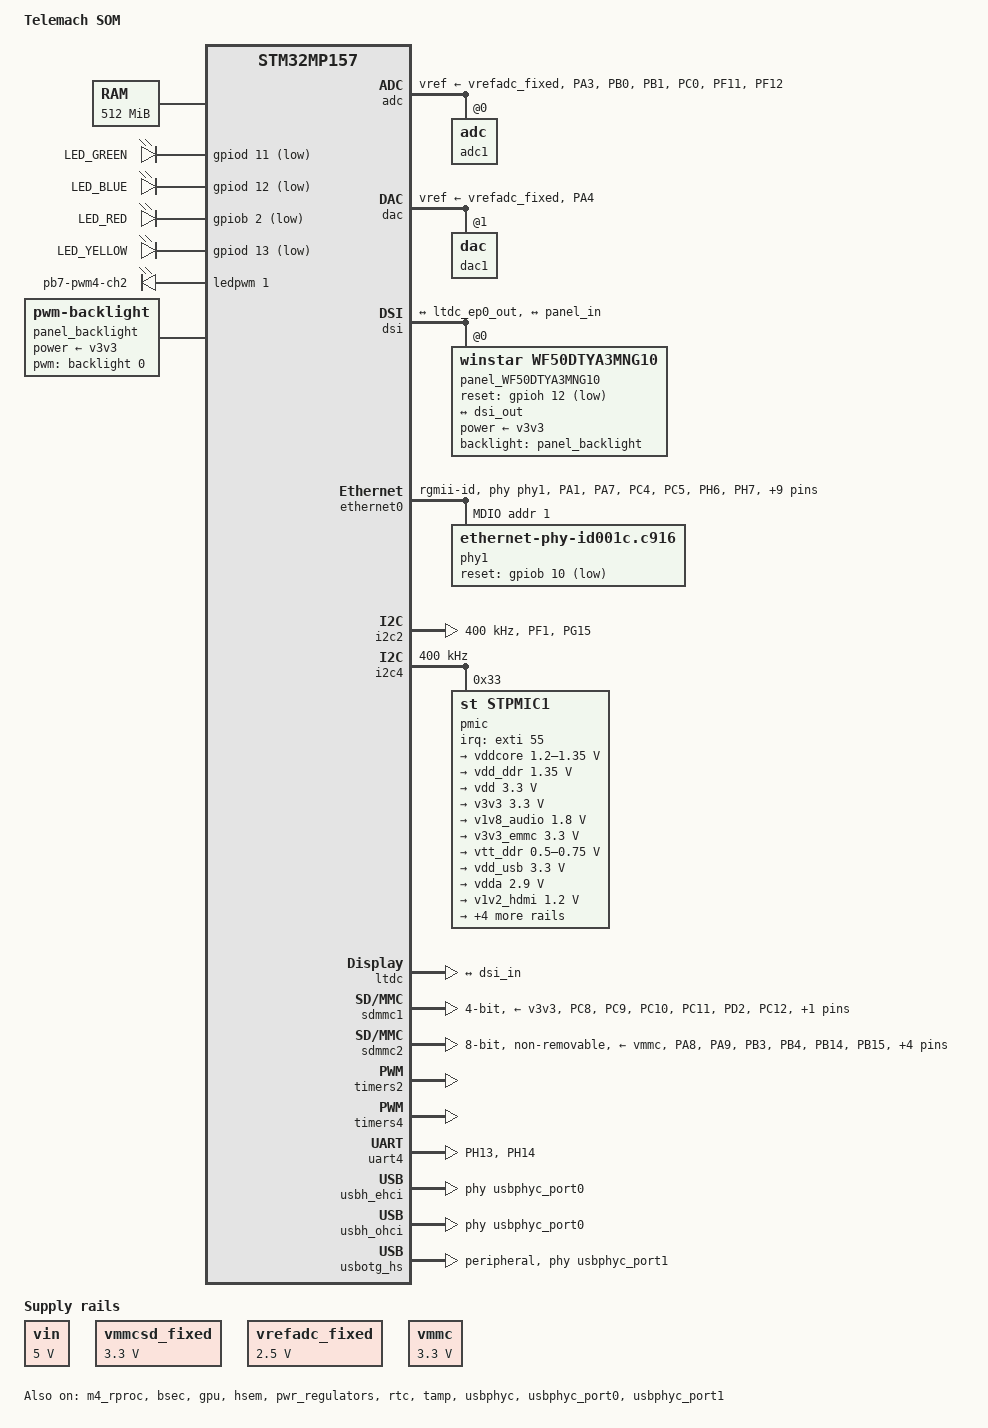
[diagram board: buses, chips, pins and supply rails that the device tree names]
// SPDX-License-Identifier: (GPL-2.0-or-later OR BSD-3-Clause)
/*
 * Copyright (C) 2025, STMicroelectronics - All Rights Reserved
 * Author: STM32CubeMX code generation for STMicroelectronics.
 */

/* For more information on Device Tree configuration, please refer to
 * https://wiki.st.com/stm32mpu/wiki/Category:Device_tree_configuration
 */

/dts-v1/;

#include <dt-bindings/pinctrl/stm32-pinfunc.h>
#include "stm32mp157.dtsi"
#include "stm32mp15xc.dtsi"
#include "stm32mp15xxaa-pinctrl.dtsi"
#include "stm32mp15-m4-srm.dtsi"

/* USER CODE BEGIN includes */
#include "stm32mp15-scmi.dtsi"
#include <dt-bindings/gpio/gpio.h>
#include <dt-bindings/mfd/st,stpmic1.h>
#include <dt-bindings/rtc/rtc-stm32.h>
/* USER CODE END includes */

//#include "stm32mp151.dtsi"
//#include "stm32mp15xa.dtsi"
//#include "stm32mp15xxac-pinctrl.dtsi"

/ {
	model = "Telemach SOM";
	compatible = "st,stm32mp157c-telemach-mx", "st,stm32mp157";

	memory@c0000000 {
		device_type = "memory";
		reg = <0xc0000000 0x20000000>;

		/* USER CODE BEGIN memory */
		/* USER CODE END memory */
	};

	reserved-memory {
		#address-cells = <1>;
		#size-cells = <1>;
		ranges;

		/* USER CODE BEGIN reserved-memory */
		optee@de000000 {
			reg = <0xde000000 0x2000000>;
			no-map;
		};
		
		mcuram2:mcuram2@10000000{
			compatible = "shared-dma-pool";
			reg = <0x10000000 0x40000>;
			no-map;
		};

		vdev0vring0:vdev0vring0@10040000{
			compatible = "shared-dma-pool";
			reg = <0x10040000 0x1000>;
			no-map;
		};

		vdev0vring1:vdev0vring1@10041000{
			compatible = "shared-dma-pool";
			reg = <0x10041000 0x1000>;
			no-map;
		};

		vdev0buffer:vdev0buffer@10042000{
			compatible = "shared-dma-pool";
			reg = <0x10042000 0x4000>;
			no-map;
		};

		mcu_rsc_table:mcu-rsc-table@10048000{
			compatible = "shared-dma-pool";
			reg = <0x10048000 0x8000>;
			no-map;
		};

		mcuram:mcuram@30000000{
			compatible = "shared-dma-pool";
			reg = <0x30000000 0x40000>;
			no-map;
		};

		retram:retram@38000000{
			compatible = "shared-dma-pool";
			reg = <0x38000000 0x10000>;
			no-map;
		};
		/* USER CODE END reserved-memory */
	};

	/* USER CODE BEGIN root */
	led{
		compatible = "gpio-leds";

		led1_grn{
			label = "LED_GREEN";
			gpios = <&gpiod 11 GPIO_ACTIVE_LOW>;
			linux,default-trigger = "heartbeat";
			status = "okay";
			default-state = "off";
		};

		led2_blue{
			label = "LED_BLUE";
			gpios = <&gpiod 12 GPIO_ACTIVE_LOW>;
			linux,default-trigger = "cpu0";
			status = "okay";
			default-state = "off";
		};

		led3_red{
			label = "LED_RED";
			gpios = <&gpiob 2 GPIO_ACTIVE_LOW>;
			status = "okay";
			default-state = "off";
		};

		led4_grn{
			label = "LED_YELLOW";
			gpios = <&gpiod 13 GPIO_ACTIVE_LOW>;
			default-state = "off";
		};
	};

	pwmleds {
		compatible = "pwm-leds";
		control {
			label = "pb7-pwm4-ch2";
			pwms = <&ledpwm 1 500000 0>;
			max-brightness = <4096>;
		};
	};

	panel_backlight: panel_backlight {
		compatible = "pwm-backlight";
		pwms = <&backlight 0 500000 0>;
		brightness-levels = <0 4 8 16 32 64 128 255>;
		default-brightness-level = <2>;
		power-supply = <&v3v3>;
		status = "okay";
	};

	usb_phy_tuning:usb-phy-tuning{
		st,hs-dc-level = <2>;
		st,fs-rftime-tuning;
		st,hs-rftime-reduction;
		st,hs-current-trim = <15>;
		st,hs-impedance-trim = <1>;
		st,squelch-level = <3>;
		st,hs-rx-offset = <2>;
		st,no-lsfs-sc;
	};

	vin:vin{
		compatible = "regulator-fixed";
		regulator-name = "vin";
		regulator-min-microvolt = <5000000>;
		regulator-max-microvolt = <5000000>;
		regulator-always-on;
	};

	vmmcsd_fixed: fixedregulator@0 {
		compatible = "regulator-fixed";
		regulator-name = "vmmcsd_fixed";
		regulator-min-microvolt = <3300000>;
		regulator-max-microvolt = <3300000>;
		regulator-always-on;
	};

	vrefadc_fixed: fixedregulator@0 {
		compatible = "regulator-fixed";
		regulator-name = "vrefadc_fixed";
		regulator-min-microvolt = <2500000>;
		regulator-max-microvolt = <2500000>;
		regulator-always-on;
	};

	vmmc: fixedregulator@1 {
		compatible = "regulator-fixed";
		regulator-name = "vmmc";
		regulator-min-microvolt = <3300000>;
		regulator-max-microvolt = <3300000>;
		startup-delay-us = <70000>;
		enable-active-high;
		regulator-always-on;
		};

	aliases{
		serial0 = &uart4;
		mmc0 = &sdmmc1;
		mmc1 = &sdmmc2;
	};

	chosen{
		#address-cells = <1>;
		#size-cells = <1>;
		ranges;
		stdout-path = "serial0:115200n8";
		framebuffer {
			compatible = "simple-framebuffer";
			clocks = <&rcc LTDC_PX>;
			status = "disabled";
		};
	};
	/* USER CODE END root */

	clocks{

		/* USER CODE BEGIN clocks */
		clk_csi: clk-csi {
			#clock-cells = <0>;
			compatible = "fixed-clock";
			clock-frequency = <4000000>;
		};

		clk_hse: clk-hse {
			#clock-cells = <0>;
			compatible = "fixed-clock";
			clock-frequency = <24000000>;
		};

		clk_hsi: clk-hsi {
			#clock-cells = <0>;
			compatible = "fixed-clock";
			clock-frequency = <64000000>;
		};

		clk_lse: clk-lse {
			#clock-cells = <0>;
			compatible = "fixed-clock";
			clock-frequency = <32768>;
		};

		clk_lsi: clk-lsi {
			#clock-cells = <0>;
			compatible = "fixed-clock";
			clock-frequency = <32000>;
		};	
		/* USER CODE END clocks */
	};

}; /*root*/

&pinctrl {

	adc_pins_mx: adc_mx-0 {
		pins {
			pinmux = <STM32_PINMUX('A', 3, ANALOG)>, /* ADC1_INP15 */
					 <STM32_PINMUX('B', 0, ANALOG)>, /* ADC1_INP9 */
					 <STM32_PINMUX('B', 1, ANALOG)>, /* ADC1_INP5 */
					 <STM32_PINMUX('C', 0, ANALOG)>, /* ADC1_INP10 */
					 <STM32_PINMUX('F', 11, ANALOG)>, /* ADC1_INP2 */
					 <STM32_PINMUX('F', 12, ANALOG)>; /* ADC1_INP6 */
		};
	};

	adc_sleep_pins_mx: adc_sleep_mx-0 {
		pins {
			pinmux = <STM32_PINMUX('A', 3, ANALOG)>, /* ADC1_INP15 */
					 <STM32_PINMUX('B', 0, ANALOG)>, /* ADC1_INP9 */
					 <STM32_PINMUX('B', 1, ANALOG)>, /* ADC1_INP5 */
					 <STM32_PINMUX('C', 0, ANALOG)>, /* ADC1_INP10 */
					 <STM32_PINMUX('F', 11, ANALOG)>, /* ADC1_INP2 */
					 <STM32_PINMUX('F', 12, ANALOG)>; /* ADC1_INP6 */
		};
	};

	dac1_pins_mx: dac1_mx-0 {
		pins {
			pinmux = <STM32_PINMUX('A', 4, ANALOG)>; /* DAC1_OUT1 */
		};
	};

	dac1_sleep_pins_mx: dac1_sleep_mx-0 {
		pins {
			pinmux = <STM32_PINMUX('A', 4, ANALOG)>; /* DAC1_OUT1 */
		};
	};

	eth1_pins_mx: eth1_mx-0 {
		pins1 {
			pinmux = <STM32_PINMUX('A', 1, AF11)>, /* ETH1_RX_CLK */
					 <STM32_PINMUX('A', 7, AF11)>, /* ETH1_RX_CTL */
					 <STM32_PINMUX('C', 4, AF11)>, /* ETH1_RXD0 */
					 <STM32_PINMUX('C', 5, AF11)>, /* ETH1_RXD1 */
					 <STM32_PINMUX('H', 6, AF11)>, /* ETH1_RXD2 */
					 <STM32_PINMUX('H', 7, AF11)>; /* ETH1_RXD3 */
			bias-disable;
		};
		pins2 {
			pinmux = <STM32_PINMUX('A', 2, AF11)>; /* ETH1_MDIO */
			bias-disable;
			drive-push-pull;
			slew-rate = <0>;
		};
		pins3 {
			pinmux = <STM32_PINMUX('B', 12, AF11)>, /* ETH1_TXD0 */
					 <STM32_PINMUX('B', 13, AF11)>, /* ETH1_TXD1 */
					 <STM32_PINMUX('C', 1, AF11)>, /* ETH1_MDC */
					 <STM32_PINMUX('C', 2, AF11)>, /* ETH1_TXD2 */
					 <STM32_PINMUX('E', 2, AF11)>, /* ETH1_TXD3 */
					 <STM32_PINMUX('G', 4, AF11)>, /* ETH1_GTX_CLK */
					 <STM32_PINMUX('G', 5, AF11)>, /* ETH1_CLK125 */
					 <STM32_PINMUX('G', 11, AF11)>; /* ETH1_TX_CTL */
			bias-disable;
			drive-push-pull;
			slew-rate = <2>;
		};
	};

	eth1_sleep_pins_mx: eth1_sleep_mx-0 {
		pins {
			pinmux = <STM32_PINMUX('A', 1, ANALOG)>, /* ETH1_RX_CLK */
					 <STM32_PINMUX('A', 2, ANALOG)>, /* ETH1_MDIO */
					 <STM32_PINMUX('A', 7, ANALOG)>, /* ETH1_RX_CTL */
					 <STM32_PINMUX('B', 12, ANALOG)>, /* ETH1_TXD0 */
					 <STM32_PINMUX('B', 13, ANALOG)>, /* ETH1_TXD1 */
					 <STM32_PINMUX('C', 1, ANALOG)>, /* ETH1_MDC */
					 <STM32_PINMUX('C', 2, ANALOG)>, /* ETH1_TXD2 */
					 <STM32_PINMUX('C', 4, ANALOG)>, /* ETH1_RXD0 */
					 <STM32_PINMUX('C', 5, ANALOG)>, /* ETH1_RXD1 */
					 <STM32_PINMUX('E', 2, ANALOG)>, /* ETH1_TXD3 */
					 <STM32_PINMUX('G', 4, ANALOG)>, /* ETH1_GTX_CLK */
					 <STM32_PINMUX('G', 5, ANALOG)>, /* ETH1_CLK125 */
					 <STM32_PINMUX('G', 11, ANALOG)>, /* ETH1_TX_CTL */
					 <STM32_PINMUX('H', 6, ANALOG)>, /* ETH1_RXD2 */
					 <STM32_PINMUX('H', 7, ANALOG)>; /* ETH1_RXD3 */
		};
	};

	i2c2_pins_mx: i2c2_mx-0 {
		pins {
			pinmux = <STM32_PINMUX('F', 1, AF4)>, /* I2C2_SCL */
					 <STM32_PINMUX('G', 15, AF4)>; /* I2C2_SDA */
			bias-disable;
			drive-open-drain;
			slew-rate = <0>;
		};
	};

	i2c2_sleep_pins_mx: i2c2_sleep_mx-0 {
		pins {
			pinmux = <STM32_PINMUX('F', 1, ANALOG)>, /* I2C2_SCL */
					 <STM32_PINMUX('G', 15, ANALOG)>; /* I2C2_SDA */
		};
	};

	sdmmc1_pins_mx: sdmmc1_mx-0 {
		pins1 {
			pinmux = <STM32_PINMUX('C', 8, AF12)>, /* SDMMC1_D0 */
					 <STM32_PINMUX('C', 9, AF12)>, /* SDMMC1_D1 */
					 <STM32_PINMUX('C', 10, AF12)>, /* SDMMC1_D2 */
					 <STM32_PINMUX('C', 11, AF12)>, /* SDMMC1_D3 */
					 <STM32_PINMUX('D', 2, AF12)>; /* SDMMC1_CMD */
			bias-disable;
			drive-push-pull;
			slew-rate = <1>;
		};
		pins2 {
			pinmux = <STM32_PINMUX('C', 12, AF12)>; /* SDMMC1_CK */
			bias-disable;
			drive-push-pull;
			slew-rate = <3>;
		};
	};

	sdmmc1_opendrain_pins_mx: sdmmc1_opendrain_mx-0 {
		pins1 {
			pinmux = <STM32_PINMUX('C', 8, AF12)>, /* SDMMC1_D0 */
					 <STM32_PINMUX('C', 9, AF12)>, /* SDMMC1_D1 */
					 <STM32_PINMUX('C', 10, AF12)>, /* SDMMC1_D2 */
					 <STM32_PINMUX('C', 11, AF12)>; /* SDMMC1_D3 */
			bias-disable;
			drive-push-pull;
			slew-rate = <1>;
		};
		pins2 {
			pinmux = <STM32_PINMUX('C', 12, AF12)>; /* SDMMC1_CK */
			bias-disable;
			drive-push-pull;
			slew-rate = <3>;
		};
		pins3 {
			pinmux = <STM32_PINMUX('D', 2, AF12)>; /* SDMMC1_CMD */
			bias-disable;
			drive-open-drain;
			slew-rate = <1>;
		};
	};

	sdmmc1_sleep_pins_mx: sdmmc1_sleep_mx-0 {
		pins {
			pinmux = <STM32_PINMUX('C', 8, ANALOG)>, /* SDMMC1_D0 */
					 <STM32_PINMUX('C', 9, ANALOG)>, /* SDMMC1_D1 */
					 <STM32_PINMUX('C', 10, ANALOG)>, /* SDMMC1_D2 */
					 <STM32_PINMUX('C', 11, ANALOG)>, /* SDMMC1_D3 */
					 <STM32_PINMUX('C', 12, ANALOG)>, /* SDMMC1_CK */
					 <STM32_PINMUX('D', 2, ANALOG)>; /* SDMMC1_CMD */
		};
	};

	sdmmc2_pins_mx: sdmmc2_mx-0 {
		pins1 {
			pinmux = <STM32_PINMUX('A', 8, AF9)>, /* SDMMC2_D4 */
					 <STM32_PINMUX('A', 9, AF10)>, /* SDMMC2_D5 */
					 <STM32_PINMUX('B', 3, AF9)>, /* SDMMC2_D2 */
					 <STM32_PINMUX('B', 4, AF9)>, /* SDMMC2_D3 */
					 <STM32_PINMUX('B', 14, AF9)>, /* SDMMC2_D0 */
					 <STM32_PINMUX('B', 15, AF9)>, /* SDMMC2_D1 */
					 <STM32_PINMUX('C', 6, AF10)>, /* SDMMC2_D6 */
					 <STM32_PINMUX('C', 7, AF10)>, /* SDMMC2_D7 */
					 <STM32_PINMUX('G', 6, AF10)>; /* SDMMC2_CMD */
			bias-disable;
			drive-push-pull;
			slew-rate = <1>;
		};
		pins2 {
			pinmux = <STM32_PINMUX('E', 3, AF9)>; /* SDMMC2_CK */
			bias-disable;
			drive-push-pull;
			slew-rate = <3>;
		};
	};

	sdmmc2_opendrain_pins_mx: sdmmc2_opendrain_mx-0 {
		pins1 {
			pinmux = <STM32_PINMUX('A', 8, AF9)>, /* SDMMC2_D4 */
					 <STM32_PINMUX('A', 9, AF10)>, /* SDMMC2_D5 */
					 <STM32_PINMUX('B', 3, AF9)>, /* SDMMC2_D2 */
					 <STM32_PINMUX('B', 4, AF9)>, /* SDMMC2_D3 */
					 <STM32_PINMUX('B', 14, AF9)>, /* SDMMC2_D0 */
					 <STM32_PINMUX('B', 15, AF9)>, /* SDMMC2_D1 */
					 <STM32_PINMUX('C', 6, AF10)>, /* SDMMC2_D6 */
					 <STM32_PINMUX('C', 7, AF10)>; /* SDMMC2_D7 */
			bias-disable;
			drive-push-pull;
			slew-rate = <1>;
		};
		pins2 {
			pinmux = <STM32_PINMUX('E', 3, AF9)>; /* SDMMC2_CK */
			bias-disable;
			drive-push-pull;
			slew-rate = <3>;
		};
		pins3 {
			pinmux = <STM32_PINMUX('G', 6, AF10)>; /* SDMMC2_CMD */
			bias-disable;
			drive-open-drain;
			slew-rate = <1>;
		};
	};

	sdmmc2_sleep_pins_mx: sdmmc2_sleep_mx-0 {
		pins {
			pinmux = <STM32_PINMUX('A', 8, ANALOG)>, /* SDMMC2_D4 */
					 <STM32_PINMUX('A', 9, ANALOG)>, /* SDMMC2_D5 */
					 <STM32_PINMUX('B', 3, ANALOG)>, /* SDMMC2_D2 */
					 <STM32_PINMUX('B', 4, ANALOG)>, /* SDMMC2_D3 */
					 <STM32_PINMUX('B', 14, ANALOG)>, /* SDMMC2_D0 */
					 <STM32_PINMUX('B', 15, ANALOG)>, /* SDMMC2_D1 */
					 <STM32_PINMUX('C', 6, ANALOG)>, /* SDMMC2_D6 */
					 <STM32_PINMUX('C', 7, ANALOG)>, /* SDMMC2_D7 */
					 <STM32_PINMUX('E', 3, ANALOG)>, /* SDMMC2_CK */
					 <STM32_PINMUX('G', 6, ANALOG)>; /* SDMMC2_CMD */
		};
	};

	tim2_pwm_pins_mx: tim2_pwm_mx-0 {
		pins {
			pinmux = <STM32_PINMUX('A', 15, AF1)>; /* TIM2_CH1 */
			bias-disable;
			drive-push-pull;
			slew-rate = <0>;
		};
	};

	tim2_pwm_sleep_pins_mx: tim2_pwm_sleep_mx-0 {
		pins {
			pinmux = <STM32_PINMUX('A', 15, ANALOG)>; /* TIM2_CH1 */
		};
	};

	tim4_pwm_pins_mx: tim4_pwm_mx-0 {
		pins {
			pinmux = <STM32_PINMUX('B', 7, AF2)>; /* TIM4_CH2 */
			bias-disable;
			drive-push-pull;
			slew-rate = <0>;
		};
	};

	tim4_pwm_sleep_pins_mx: tim4_pwm_sleep_mx-0 {
		pins {
			pinmux = <STM32_PINMUX('B', 7, ANALOG)>; /* TIM4_CH2 */
		};
	};

	uart4_pins_mx: uart4_mx-0 {
		pins1 {
			pinmux = <STM32_PINMUX('H', 13, AF8)>; /* UART4_TX */
			bias-disable;
			drive-push-pull;
			slew-rate = <0>;
		};
		pins2 {
			pinmux = <STM32_PINMUX('H', 14, AF8)>; /* UART4_RX */
			bias-pull-up;
		};
	};

	uart4_idle_pins_mx: uart4_idle_mx-0 {
		pins1 {
			pinmux = <STM32_PINMUX('H', 13, ANALOG)>; /* UART4_TX */
		};
		pins2 {
			pinmux = <STM32_PINMUX('H', 14, AF8)>; /* UART4_RX */
			bias-pull-up;
		};
	};

	uart4_sleep_pins_mx: uart4_sleep_mx-0 {
		pins {
			pinmux = <STM32_PINMUX('H', 13, ANALOG)>, /* UART4_TX */
					 <STM32_PINMUX('H', 14, ANALOG)>; /* UART4_RX */
		};
	};

	/* USER CODE BEGIN pinctrl */
	/* USER CODE END pinctrl */
};

&pinctrl_z {

	i2c4_pins_z_mx: i2c4_mx-0 {
		pins {
			pinmux = <STM32_PINMUX('Z', 4, AF6)>, /* I2C4_SCL */
					 <STM32_PINMUX('Z', 5, AF6)>; /* I2C4_SDA */
			bias-pull-up;
			drive-open-drain;
			slew-rate = <3>;
		};
	};

	i2c4_sleep_pins_z_mx: i2c4_sleep_mx-0 {
		pins {
			pinmux = <STM32_PINMUX('Z', 4, ANALOG)>, /* I2C4_SCL */
					 <STM32_PINMUX('Z', 5, ANALOG)>; /* I2C4_SDA */
		};
	};

	/* USER CODE BEGIN pinctrl_z */
	/* USER CODE END pinctrl_z */
};

&m4_rproc{
	/*Restriction: "memory-region" property is not managed - please to use User-Section if needed*/
	mboxes = <&ipcc 2>;
	mbox-names = "shutdown";
	status = "okay";

	/* USER CODE BEGIN m4_rproc */
	resets = <&scmi_reset RST_SCMI_MCU>, <&scmi_reset RST_SCMI_MCU_HOLD_BOOT>;
	reset-names = "mcu_rst", "hold_boot";
	/*/delete-property/ st,syscfg-holdboot;*/
	mboxes = <&ipcc 0>, <&ipcc 1>, <&ipcc 2>, <&ipcc 3>;
	mbox-names = "vq0", "vq1", "shutdown", "detach";
	memory-region = <&retram>, <&mcuram>, <&mcuram2>, <&vdev0vring0>, <&vdev0vring1>, <&vdev0buffer>, <&mcu_rsc_table>;
	interrupt-parent = <&exti>;
	interrupts = <68 1>;
	wakeup-source;
	/* USER CODE END m4_rproc */

	m4_system_resources{
		status = "okay";

		/* USER CODE BEGIN m4_system_resources */
		/* USER CODE END m4_system_resources */
	};
};

&adc {
	pinctrl-names = "default", "sleep";
	pinctrl-0 = <&adc_pins_mx>;
	pinctrl-1 = <&adc_sleep_pins_mx>;
	status = "okay";

	/* USER CODE BEGIN adc */
	vdd-supply = <&vdd>;
	vdda-supply = <&vdda>;
	vref-supply = <&vrefadc_fixed>; /* Connected to external source 2.5V */

	adc1: adc@0 {
		#address-cells = <1>;
		#size-cells = <0>;
		assigned-resolution-bits = <12>;
		status = "okay";
		channel@0 {
			reg = <0>;
			/* 16.5 ck_cycles sampling time */
			st,min-sample-time-ns = <5000>;
			assigned-resolution-bits = <12>;
		};
		channel@1 {
			reg = <1>;
			st,min-sample-time-ns = <5000>;
			assigned-resolution-bits = <12>;
		};
		channel@2 {
			reg = <2>;
			/* 16.5 ck_cycles sampling time */
			st,min-sample-time-ns = <5000>;
			assigned-resolution-bits = <12>;
		};
		channel@5 {
			reg = <5>;
			st,min-sample-time-ns = <5000>;
			assigned-resolution-bits = <12>;
		};
		channel@2 {
			reg = <2>;
			st,min-sample-time-ns = <5000>;
			assigned-resolution-bits = <12>;
		};
		channel@9 {
			reg = <9>;
			st,min-sample-time-ns = <5000>;
			assigned-resolution-bits = <12>;
		};
		channel@10 {
			reg = <10>;
			st,min-sample-time-ns = <5000>;
			assigned-resolution-bits = <12>;
		};
		channel@15 {
			reg = <15>;
			st,min-sample-time-ns = <5000>;
			assigned-resolution-bits = <12>;
		};
	};
	/* USER CODE END adc */
};

&bsec {
	status = "okay";

	/* USER CODE BEGIN bsec */
	/* USER CODE END bsec */
};

&dac {
	pinctrl-names = "default", "sleep";
	pinctrl-0 = <&dac1_pins_mx>;
	pinctrl-1 = <&dac1_sleep_pins_mx>;
	status = "okay";

	/* USER CODE BEGIN dac */
	vref-supply = <&vrefadc_fixed>; /* Connected to external source 2.5V */
	dac1: dac@1 {
		status = "okay";	/* Enable DAC1 */
	};
	/* USER CODE END dac */
};

&dma1 {
	status = "okay";

	/* USER CODE BEGIN dma1 */
	resets = <&scmi_reset RST_SCMI_MDMA>;
	/* USER CODE END dma1 */
};

&dma2 {
	status = "disabled";

	/* USER CODE BEGIN dma2 */
	/* USER CODE END dma2 */
};

&dmamux1 {
	status = "okay";

	dma-masters = <&dma1>;
	dma-channels = <8>;

	/* USER CODE BEGIN dmamux1 */
	/* USER CODE END dmamux1 */
};

&dsi {
	status = "okay";

	/* USER CODE BEGIN dsi */
	clocks = <&rcc DSI>, <&scmi_clk CK_SCMI_HSE>, <&rcc DSI_PX>;
	#address-cells = <1>;
	#size-cells = <0>;

	ports {
		#address-cells = <1>;
		#size-cells = <0>;

		port@0 {
			reg = <0>;
			dsi_in: endpoint {
				remote-endpoint = <&ltdc_ep0_out>;
			};
		};

		port@1 {
			reg = <1>;
			dsi_out: endpoint {
				remote-endpoint = <&panel_in>;
			};
		};
	};

	panel_WF50DTYA3MNG10: panel-WF50DTYA3MNG10@0 {
		compatible = "winstar,WF50DTYA3MNG10";
		reg = <0>;
		reset-gpios = <&gpioh 12 GPIO_ACTIVE_LOW>;
		power-supply = <&v3v3>;
		backlight = <&panel_backlight>;
		status = "okay";

		port {
			panel_in: endpoint {
				remote-endpoint = <&dsi_out>;
			};
		};
	};
	/* USER CODE END dsi */
};

&ethernet0 {
	pinctrl-names = "default", "sleep";
	pinctrl-0 = <&eth1_pins_mx>;
	pinctrl-1 = <&eth1_sleep_pins_mx>;
	status = "okay";

	/* USER CODE BEGIN ethernet0 */
	phy-mode = "rgmii-id";
	max-speed = <1000>;
	phy-handle = <&phy1>;
	nvmem-cells = <&ethernet_mac_address>;
	nvmem-cell-names = "mac-address";
	u-boot,dm-pre-reloc;
	mdio0 {
		u-boot,dm-pre-reloc;
		#address-cells = <1>;
		#size-cells = <0>;
		compatible = "snps,dwmac-mdio";
		phy1: ethernet-phy@1 {
			u-boot,dm-pre-reloc;
			reg = <1>;
			compatible = "ethernet-phy-id001c.c916";
			reset-gpios = <&gpiob 10 GPIO_ACTIVE_LOW>;
			reset-delay-us = <10000>;
			post-reset-delay-us = <1000>;
		};
	};
	/* USER CODE END ethernet0 */
};

&gpu {
	status = "okay";

	/* USER CODE BEGIN gpu */
	/* USER CODE END gpu */
};

&hsem {
	status = "okay";

	/* USER CODE BEGIN hsem */
	/* USER CODE END hsem */
};

&i2c2 {
	pinctrl-names = "default", "sleep";
	pinctrl-0 = <&i2c2_pins_mx>;
	pinctrl-1 = <&i2c2_sleep_pins_mx>;
	status = "okay";

	/* USER CODE BEGIN i2c2 */
	i2c-scl-rising-time-ns = <185>;
	i2c-scl-falling-time-ns = <20>;
	clock-frequency = <400000>;
	/delete-property/ dmas;
	/delete-property/ dma-names;
	/* USER CODE END i2c2 */
};

&i2c4 {
	pinctrl-names = "default", "sleep";
	pinctrl-0 = <&i2c4_pins_z_mx>;
	pinctrl-1 = <&i2c4_sleep_pins_z_mx>;
	status = "okay";

	/* USER CODE BEGIN i2c4 */
	clocks = <&scmi_clk CK_SCMI_I2C4>;
	resets = <&scmi_reset RST_SCMI_I2C4>;
	i2c-scl-rising-time-ns = <185>;
	i2c-scl-falling-time-ns = <20>;
	clock-frequency = <400000>;
	/delete-property/ dmas;
	/delete-property/ dma-names;

	pmic:stpmic@33{
		compatible = "st,stpmic1";
		reg = <0x33>;
		interrupts-extended = <&exti 55 IRQ_TYPE_EDGE_FALLING>;
		interrupt-controller;
		#interrupt-cells = <2>;
		status = "okay";

		regulators{
			compatible = "st,stpmic1-regulators";
			buck1-supply = <&vin>;
			buck2-supply = <&vin>;
			buck3-supply = <&vin>;
			buck4-supply = <&vin>;
			ldo1-supply = <&v3v3>;
			ldo2-supply = <&vin>;
			ldo3-supply = <&vdd_ddr>;
			ldo4-supply = <&vin>;
			ldo5-supply = <&vin>;
			ldo6-supply = <&v3v3>;
			vref_ddr-supply = <&vin>;
			boost-supply = <&vin>;
			pwr_sw1-supply = <&bst_out>;
			pwr_sw2-supply = <&bst_out>;

			vddcore:buck1{
				regulator-name = "vddcore";
				regulator-min-microvolt = <1200000>;
				regulator-max-microvolt = <1350000>;
				regulator-always-on;
				regulator-initial-mode = <0>;
				regulator-over-current-protection;
			};

			vdd_ddr:buck2{
				regulator-name = "vdd_ddr";
				regulator-min-microvolt = <1350000>;
				regulator-max-microvolt = <1350000>;
				regulator-always-on;
				regulator-initial-mode = <0>;
				regulator-over-current-protection;
			};

			vdd:buck3{
				regulator-name = "vdd";
				regulator-min-microvolt = <3300000>;
				regulator-max-microvolt = <3300000>;
				regulator-always-on;
				st,mask-reset;
				regulator-initial-mode = <0>;
				regulator-over-current-protection;
			};

			v3v3:buck4{
				regulator-name = "v3v3";
				regulator-min-microvolt = <3300000>;
				regulator-max-microvolt = <3300000>;
				regulator-always-on;
				regulator-over-current-protection;
				regulator-initial-mode = <0>;
			};

			v1v8_audio:ldo1{
				regulator-name = "v1v8_audio";
				regulator-min-microvolt = <1800000>;
				regulator-max-microvolt = <1800000>;
				regulator-always-on;
				interrupts = <IT_CURLIM_LDO1 0>;
			};

			v3v3_emmc:ldo2{
				regulator-name = "v3v3_emmc";
				regulator-min-microvolt = <3300000>;
				regulator-max-microvolt = <3300000>;
				regulator-always-on;
				interrupts = <IT_CURLIM_LDO2 0>;
			};

			vtt_ddr:ldo3{
				regulator-name = "vtt_ddr";
				regulator-min-microvolt = <500000>;
				regulator-max-microvolt = <750000>;
				regulator-always-on;
				regulator-over-current-protection;
			};

			vdd_usb:ldo4{
				regulator-name = "vdd_usb";
				regulator-min-microvolt = <3300000>;
				regulator-max-microvolt = <3300000>;
				interrupts = <IT_CURLIM_LDO4 0>;
				regulator-always-on;
			};

			vdda:ldo5{
				regulator-name = "vdda";
				regulator-min-microvolt = <2900000>;
				regulator-max-microvolt = <2900000>;
				interrupts = <IT_CURLIM_LDO5 0>;
				regulator-always-on;
			};

			v1v2_hdmi:ldo6{
				regulator-name = "v1v2_hdmi";
				regulator-min-microvolt = <1200000>;
				regulator-max-microvolt = <1200000>;
				regulator-always-on;
				interrupts = <IT_CURLIM_LDO6 0>;
			};

			vref_ddr:vref_ddr{
				regulator-name = "vref_ddr";
				regulator-always-on;
				regulator-over-current-protection;
			};

			bst_out:boost{
				regulator-name = "bst_out";
				interrupts = <IT_OCP_BOOST 0>;
			};

			vbus_otg:pwr_sw1{
				regulator-name = "vbus_otg";
				interrupts = <IT_OCP_OTG 0>;
			};

			vbus_sw:pwr_sw2{
				regulator-name = "vbus_sw";
				interrupts = <IT_OCP_SWOUT 0>;
				regulator-active-discharge = <1>;
			};
		};

		onkey{
			compatible = "st,stpmic1-onkey";
			interrupts = <IT_PONKEY_F 0>, <IT_PONKEY_R 0>;
			interrupt-names = "onkey-falling", "onkey-rising";
			power-off-time-sec = <10>;
			status = "okay";
		};

		watchdog {
			compatible = "st,stpmic1-wdt";
			status = "disabled";
		};
	};
	/* USER CODE END i2c4 */
};

&ipcc {
	status = "okay";

	/* USER CODE BEGIN ipcc */
	/* USER CODE END ipcc */
};

&ltdc {
	status = "okay";

	/* USER CODE BEGIN ltdc */
	port {
		#address-cells = <1>;
		#size-cells = <0>;

		ltdc_ep0_out: endpoint@0 {
			reg = <0>;
			remote-endpoint = <&dsi_in>;
		};
	};
	/* USER CODE END ltdc */
};

&m4_dma2 {
	status = "okay";

	/* USER CODE BEGIN m4_dma2 */
	/* USER CODE END m4_dma2 */
};

&mdma1 {
	status = "okay";

	/* USER CODE BEGIN mdma1 */
	/* USER CODE END mdma1 */
};

&pwr_regulators {
	status = "okay";

	/* USER CODE BEGIN pwr_regulators */
	vdd-supply = <&vdd>;
	vdd_3v3_usbfs-supply = <&vdd_usb>;
	/* USER CODE END pwr_regulators */
};

&rcc {
	status = "okay";

	/* USER CODE BEGIN rcc */
	compatible = "st,stm32mp1-rcc-secure", "syscon";
	clock-names = "hse", "hsi", "csi", "lse", "lsi";
	clocks = <&scmi_clk CK_SCMI_HSE>,
		 <&scmi_clk CK_SCMI_HSI>,
		 <&scmi_clk CK_SCMI_CSI>,
		 <&scmi_clk CK_SCMI_LSE>,
		 <&scmi_clk CK_SCMI_LSI>;
	/* USER CODE END rcc */
};

&rtc {
	status = "okay";

	/* USER CODE BEGIN rtc */
	clocks = <&scmi_clk CK_SCMI_RTCAPB>, <&scmi_clk CK_SCMI_RTC>;
	/* USER CODE END rtc */
};

&sdmmc1 {
	pinctrl-names = "default", "opendrain", "sleep";
	pinctrl-0 = <&sdmmc1_pins_mx>;
	pinctrl-1 = <&sdmmc1_opendrain_pins_mx>;
	pinctrl-2 = <&sdmmc1_sleep_pins_mx>;
	status = "okay";

	/* USER CODE BEGIN sdmmc1 */
	/*broken-cd;*/
	cd-gpios = <&gpioj 6 GPIO_ACTIVE_LOW>;
	disable-wp;
	st,neg-edge;
	bus-width = <4>;
	vmmc-supply = <&v3v3>;
	/* USER CODE END sdmmc1 */
};

&sdmmc2 {
	pinctrl-names = "default", "opendrain", "sleep";
	pinctrl-0 = <&sdmmc2_pins_mx>;
	pinctrl-1 = <&sdmmc2_opendrain_pins_mx>;
	pinctrl-2 = <&sdmmc2_sleep_pins_mx>;
	status = "okay";

	/* USER CODE BEGIN sdmmc2 */
	non-removable;
	no-sd;
	no-sdio;
	st,neg-edge;
	bus-width = <8>;
	vmmc-supply = <&vmmc>;
	vqmmc-supply = <&vmmc>;
	mmc-ddr-3_3v;
	/* USER CODE END sdmmc2 */
};

&tamp {
	status = "okay";

	/* USER CODE BEGIN tamp */
	/* USER CODE END tamp */
};

&timers2 {
	status = "okay";

	/* USER CODE BEGIN timers2 */
	/* USER CODE END timers2 */

	ledpwm: pwm{
		pinctrl-names = "default", "sleep";
		pinctrl-0 = <&tim2_pwm_pins_mx>;
		pinctrl-1 = <&tim2_pwm_sleep_pins_mx>;
		status = "okay";

		/* USER CODE BEGIN timers2_pwm */
		/* USER CODE END timers2_pwm */
	};
};

&timers4 {
	status = "okay";

	/* USER CODE BEGIN timers4 */
	/* USER CODE END timers4 */

	backlight: pwm{
		pinctrl-names = "default", "sleep";
		pinctrl-0 = <&tim4_pwm_pins_mx>;
		pinctrl-1 = <&tim4_pwm_sleep_pins_mx>;
		status = "okay";

		/* USER CODE BEGIN timers4_pwm */
		/* USER CODE END timers4_pwm */
	};
};

&uart4 {
	pinctrl-names = "default", "idle", "sleep";
	pinctrl-0 = <&uart4_pins_mx>;
	pinctrl-1 = <&uart4_idle_pins_mx>;
	pinctrl-2 = <&uart4_sleep_pins_mx>;
	status = "okay";

	/* USER CODE BEGIN uart4 */
	/delete-property/dmas;
	/delete-property/dma-names;
	/* USER CODE END uart4 */
};

&usbh_ehci {
	status = "okay";

	/* USER CODE BEGIN usbh_ehci */
	phys = <&usbphyc_port0>;
	phy-names = "usb";
	/* USER CODE END usbh_ehci */
};

&usbh_ohci {
	status = "okay";

	/* USER CODE BEGIN usbh_ohci */
	phys = <&usbphyc_port0>;
	phy-names = "usb";
	/* USER CODE END usbh_ohci */
};

&usbotg_hs {
	status = "okay";

	/* USER CODE BEGIN usbotg_hs */
	phys = <&usbphyc_port1 0>;
	phy-names = "usb2-phy";
 	u-boot,force-b-session-valid;
 	dr_mode = "peripheral";
	/* USER CODE END usbotg_hs */
};

&usbphyc {
	status = "okay";

	/* USER CODE BEGIN usbphyc */
	/* USER CODE END usbphyc */
};

&usbphyc_port0 {
	status = "okay";

	/* USER CODE BEGIN usbphyc_port0 */
	phy-supply = <&vdd_usb>;
	st,phy-tuning = <&usb_phy_tuning>;
	/* USER CODE END usbphyc_port0 */
};

&usbphyc_port1 {
	status = "okay";

	/* USER CODE BEGIN usbphyc_port1 */
	phy-supply = <&vdd_usb>;
	st,phy-tuning = <&usb_phy_tuning>;
	/* USER CODE END usbphyc_port1 */
};

/* USER CODE BEGIN addons */
&cpu0 {
        clock-frequency = <650000000>;
        cpu-supply = <&vddcore>;
        clocks = <&scmi_clk CK_SCMI_MPU>;
};

&cpu1 {
        clock-frequency = <650000000>;
        cpu-supply = <&vddcore>;
        clocks = <&scmi_clk CK_SCMI_MPU>;
};

&gpioz {
        clocks = <&scmi_clk CK_SCMI_GPIOZ>;
};

&uart4_pins_mx {
	u-boot,dm-pre-reloc;
	pins1 {
		u-boot,dm-pre-reloc;
	};
	pins2 {
		u-boot,dm-pre-reloc;
	};
};

/* USER CODE END addons */

